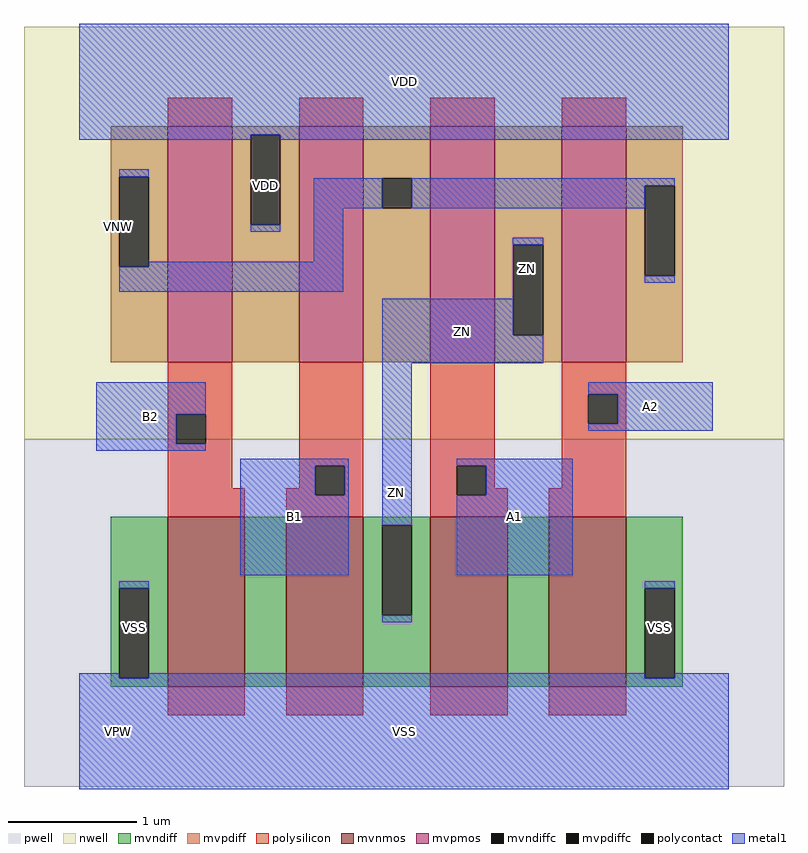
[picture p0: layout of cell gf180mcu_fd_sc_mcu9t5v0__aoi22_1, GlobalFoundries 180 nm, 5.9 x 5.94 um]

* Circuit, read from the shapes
.subckt gf180mcu_fd_sc_mcu9t5v0__aoi22_1 A1 A2 B1 B2 ZN VDD VNW VPW VSS
XM1 n1 B2 VSS VPW nfet_06v0 w=1.32u l=0.6u
XM2 ZN B1 n1 VPW nfet_06v0 w=1.32u l=0.6u
XM3 n2 A1 ZN VPW nfet_06v0 w=1.32u l=0.6u
XM4 VSS A2 n2 VPW nfet_06v0 w=1.32u l=0.6u
XM5 VDD B2 n3 VNW pfet_06v0 w=1.83u l=0.5u
XM6 n3 B1 VDD VNW pfet_06v0 w=1.83u l=0.5u
XM7 ZN A1 n3 VNW pfet_06v0 w=1.83u l=0.5u
XM8 n3 A2 ZN VNW pfet_06v0 w=1.83u l=0.5u
.ends

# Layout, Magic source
magic
tech gf180mcuD
magscale 1 10
<< nwell >>
rect -86 453 1094 1094
<< pwell >>
rect -86 -86 1094 453
<< mvnmos >>
rect 137 69 257 333
rect 321 69 441 333
rect 545 69 665 333
rect 729 69 849 333
<< mvpmos >>
rect 137 573 237 939
rect 341 573 441 939
rect 545 573 645 939
rect 749 573 849 939
<< mvndiff >>
rect 49 222 137 333
rect 49 82 62 222
rect 108 82 137 222
rect 49 69 137 82
rect 257 69 321 333
rect 441 320 545 333
rect 441 180 470 320
rect 516 180 545 320
rect 441 69 545 180
rect 665 69 729 333
rect 849 222 937 333
rect 849 82 878 222
rect 924 82 937 222
rect 849 69 937 82
<< mvpdiff >>
rect 49 861 137 939
rect 49 721 62 861
rect 108 721 137 861
rect 49 573 137 721
rect 237 926 341 939
rect 237 786 266 926
rect 312 786 341 926
rect 237 573 341 786
rect 441 858 545 939
rect 441 812 470 858
rect 516 812 545 858
rect 441 573 545 812
rect 645 755 749 939
rect 645 615 674 755
rect 720 615 749 755
rect 645 573 749 615
rect 849 847 937 939
rect 849 707 878 847
rect 924 707 937 847
rect 849 573 937 707
<< mvndiffc >>
rect 62 82 108 222
rect 470 180 516 320
rect 878 82 924 222
<< mvpdiffc >>
rect 62 721 108 861
rect 266 786 312 926
rect 470 812 516 858
rect 674 615 720 755
rect 878 707 924 847
<< polysilicon >>
rect 137 939 237 983
rect 341 939 441 983
rect 545 939 645 983
rect 749 939 849 983
rect 137 492 237 573
rect 137 446 150 492
rect 196 446 237 492
rect 137 377 237 446
rect 341 412 441 573
rect 341 377 366 412
rect 137 333 257 377
rect 321 366 366 377
rect 412 366 441 412
rect 321 333 441 366
rect 545 412 645 573
rect 545 366 586 412
rect 632 377 645 412
rect 749 523 849 573
rect 749 477 790 523
rect 836 477 849 523
rect 749 377 849 477
rect 632 366 665 377
rect 545 333 665 366
rect 729 333 849 377
rect 137 25 257 69
rect 321 25 441 69
rect 545 25 665 69
rect 729 25 849 69
<< polycontact >>
rect 150 446 196 492
rect 366 366 412 412
rect 586 366 632 412
rect 790 477 836 523
<< metal1 >>
rect 0 926 1008 1098
rect 0 918 266 926
rect 62 861 108 872
rect 312 918 1008 926
rect 266 775 312 786
rect 364 812 470 858
rect 516 847 924 858
rect 516 812 878 847
rect 364 729 410 812
rect 108 721 410 729
rect 62 682 410 721
rect 673 755 720 766
rect 673 671 674 755
rect 470 615 674 671
rect 878 696 924 707
rect 470 571 720 615
rect 26 492 196 542
rect 26 446 150 492
rect 26 435 196 446
rect 250 412 418 423
rect 250 366 366 412
rect 412 366 418 412
rect 250 242 418 366
rect 470 320 516 571
rect 790 523 983 542
rect 836 477 983 523
rect 790 466 983 477
rect 62 222 108 233
rect 0 82 62 90
rect 586 412 766 423
rect 632 366 766 412
rect 586 242 766 366
rect 470 169 516 180
rect 878 222 924 233
rect 108 82 878 90
rect 924 82 1008 90
rect 0 -90 1008 82
<< labels >>
flabel metal1 s 586 242 766 423 0 FreeSans 200 0 0 0 A1
port 1 nsew default input
flabel metal1 s 790 466 983 542 0 FreeSans 200 0 0 0 A2
port 2 nsew default input
flabel metal1 s 250 242 418 423 0 FreeSans 200 0 0 0 B1
port 3 nsew default input
flabel metal1 s 26 435 196 542 0 FreeSans 200 0 0 0 B2
port 4 nsew default input
flabel metal1 s 0 918 1008 1098 0 FreeSans 200 0 0 0 VDD
port 6 nsew power bidirectional abutment
flabel metal1 s 878 90 924 233 0 FreeSans 200 0 0 0 VSS
port 9 nsew ground bidirectional abutment
flabel metal1 s 673 671 720 766 0 FreeSans 200 0 0 0 ZN
port 5 nsew default output
flabel nwell s 10 734 110 834 0 FreeSans 400 0 0 0 VNW
port 7 nsew power bidirectional
flabel pwell s 10 -50 110 50 0 FreeSans 400 0 0 0 VPW
port 8 nsew ground bidirectional
rlabel metal1 s 470 571 720 671 1 ZN
port 5 nsew default output
rlabel metal1 s 470 169 516 571 1 ZN
port 5 nsew default output
rlabel metal1 s 266 775 312 918 1 VDD
port 6 nsew power bidirectional abutment
rlabel metal1 s 62 90 108 233 1 VSS
port 9 nsew ground bidirectional abutment
rlabel metal1 s 0 -90 1008 90 1 VSS
port 9 nsew ground bidirectional abutment
<< properties >>
string FIXED_BBOX 0 0 1008 1008
string GDS_END 1185204
string GDS_FILE $PDKPATH/libs.ref/gf180mcu_fd_sc_mcu9t5v0/gds/gf180mcu_fd_sc_mcu9t5v0.gds
string GDS_START 1181492
string LEFclass core
string LEFsite GF018hv5v_green_sc9
string LEFsymmetry X Y
<< end >>
